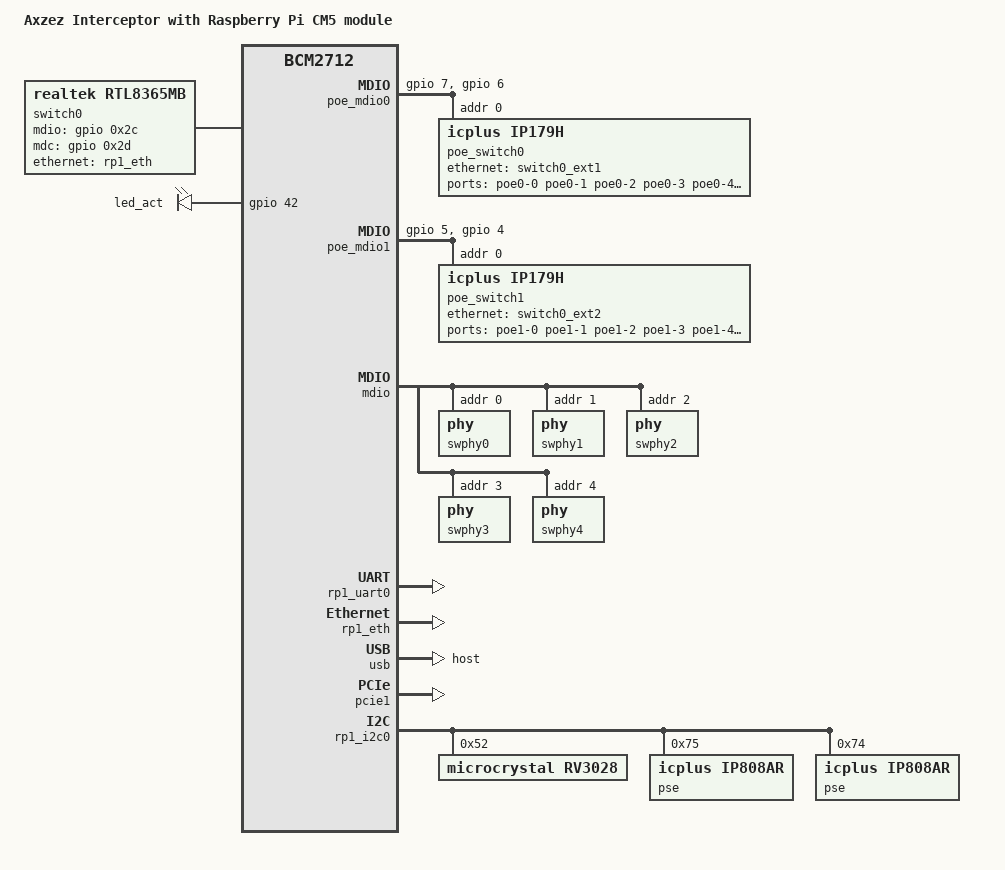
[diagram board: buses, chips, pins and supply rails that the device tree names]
// SPDX-License-Identifier: GPL-2.0
/dts-v1/;

#include "bcm2712-rpi-cm5.dtsi"
#include "bcm2712-rpi-cm4io.dtsi"

/ {
	model = "Axzez Interceptor with Raspberry Pi CM5 module";

	aliases {
		mdio-gpio0 = &poe_mdio0;
		mdio-gpio1 = &poe_mdio1;
	};

	chosen {
		bootargs = "reboot=w coherent_pool=1M 8250.nr_uarts=1 pci=pcie_bus_safe cgroup_disable=memory numa_policy=interleave";
		board = "interceptor-raspberrypi-cm5";
	};

	poe_mdio0: poe_mdio0 {
		compatible = "virtual,mdio-gpio";
		#address-cells = <1>;
		#size-cells = <0>;
		gpios = <&gpio 7 0>, <&gpio 6 6>;

		poe_switch0: ip179h@0 {
			compatible = "icplus,ip179h";
			reg = <0x00>;
			dsa,member = <0x01 0x00>;

			ports {
				#address-cells = <0x01>;
				#size-cells = <0x00>;
				port@0 {
					reg = <0x00>;
					label = "poe0-0";
					phy-mode = "internal";
				};
				port@1 {
					reg = <0x01>;
					label = "poe0-1";
					phy-mode = "internal";
				};
				port@2 {
					reg = <0x02>;
					label = "poe0-2";
					phy-mode = "internal";
				};
				port@3 {
					reg = <0x03>;
					label = "poe0-3";
					phy-mode = "internal";
				};
				port@4 {
					reg = <0x04>;
					label = "poe0-4";
					phy-mode = "internal";
				};
				port@5 {
					reg = <0x05>;
					label = "poe0-5";
					phy-mode = "internal";
				};
				port@6 {
					reg = <0x06>;
					label = "poe0-6";
					phy-mode = "internal";
				};
				port@7 {
					reg = <0x07>;
					label = "poe0-7";
					phy-mode = "internal";
				};
				port@8 {
					reg = <0x08>;
					label = "cpu";
					ethernet = <&switch0_ext1>;
					phy-mode = "rgmii-txid";
					fixed-link {
						speed = <0x3e8>;
						full-duplex;
					};
				};
			};
		};
	};

	poe_mdio1: poe_mdio1 {
		compatible = "virtual,mdio-gpio";
		#address-cells = <1>;
		#size-cells = <0>;
		gpios = <&gpio 5 0>, <&gpio 4 6>;

		poe_switch1: ip179h@0 {
			compatible = "icplus,ip179h";
			reg = <0x00>;
			dsa,member = <0x02 0x00>;

			ports {
				#address-cells = <0x01>;
				#size-cells = <0x00>;
				port@0 {
					reg = <0x00>;
					label = "poe1-0";
					phy-mode = "internal";
				};
				port@1 {
					reg = <0x01>;
					label = "poe1-1";
					phy-mode = "internal";
				};
				port@2 {
					reg = <0x02>;
					label = "poe1-2";
					phy-mode = "internal";
				};
				port@3 {
					reg = <0x03>;
					label = "poe1-3";
					phy-mode = "internal";
				};
				port@4 {
					reg = <0x04>;
					label = "poe1-4";
					phy-mode = "internal";
				};
				port@5 {
					reg = <0x05>;
					label = "poe1-5";
					phy-mode = "internal";
				};
				port@6 {
					reg = <0x06>;
					label = "poe1-6";
					phy-mode = "internal";
				};
				port@7 {
					reg = <0x07>;
					label = "poe1-7";
					phy-mode = "internal";
				};
				port@8 {
					reg = <0x08>;
					label = "cpu";
					ethernet = <&switch0_ext2>;
					phy-mode = "rgmii-txid";
					fixed-link {
						speed = <0x3e8>;
						full-duplex;
					};
				};
			};
		};
	};

	switch0: switch0 {
		compatible = "realtek,rtl8365mb";
		dsa,member = <0x00 0x00>;
		mdio-gpios = <&gpio 0x2c 0x06>;
		mdc-gpios = <&gpio 0x2d 0x06>;

		ports {
			#address-cells = <0x01>;
			#size-cells = <0x00>;
			port@0 {
				reg = <0x00>;
				label = "cpu";
				phy-mode = "internal";
				phy-handle = <&swphy0>;
				dsa-tag-protocol = "rtl8_4t";
				ethernet = <&rp1_eth>;
			};
			port@1 {
				reg = <0x01>;
				label = "swp0";
				phy-mode = "internal";
				phy-handle = <&swphy1>;
			};
			port@2 {
				reg = <0x02>;
				label = "swp1";
				phy-mode = "internal";
				phy-handle = <&swphy2>;
			};
			port@3 {
				reg = <0x03>;
				label = "swp2";
				phy-mode = "internal";
				phy-handle = <&swphy3>;
			};
			port@4 {
				reg = <0x04>;
				label = "swp3";
				phy-mode = "internal";
				phy-handle = <&swphy4>;
			};

			switch0_ext1: port@6 {
				reg = <0x06>;
				label = "ext1";
				phy-mode = "rgmii";
				tx-internal-delay-ps = <0x7d0>;
				rx-internal-delay-ps = <0x00>;
				fixed-link {
					speed = <0x3e8>;
					full-duplex;
				};
			};

			switch0_ext2: port@7 {
				reg = <0x07>;
				label = "ext2";
				phy-mode = "rgmii";
				tx-internal-delay-ps = <0x7d0>;
				rx-internal-delay-ps = <0x00>;
				fixed-link {
					speed = <0x3e8>;
					full-duplex;
				};
			};
		};

		mdio {
			compatible = "realtek,smi-mdio";
			#address-cells = <0x01>;
			#size-cells = <0x00>;
			swphy0: phy@0 {
				reg = <0x00>;
			};
			swphy1: phy@1 {
				reg = <0x01>;
			};
			swphy2: phy@2 {
				reg = <0x02>;
			};
			swphy3: phy@3 {
				reg = <0x03>;
			};
			swphy4: phy@4 {
				reg = <0x04>;
			};
		};
	};

};

&rp1_uart0 {
	pinctrl-0 = <&rp1_uart0_14_15>;
	status = "okay";
};

&rp1_eth {
	status = "okay";
};

&usb {
	status = "okay";
	dr_mode = "host";
};

&pcie1 {
	status = "okay";
};

&rp1_i2c0 {
	rv3028@52 {
		compatible = "microcrystal,rv3028";
		reg = <0x52>;
	};
	pse@75 {
		compatible = "icplus,ip808ar";
		reg = <0x75>;
		pse-id = <0x00>;
		power-allowance = <0x78>;
	};
	pse@74 {
		compatible = "icplus,ip808ar";
		reg = <0x74>;
		pse-id = <0x01>;
		power-allowance = <0x78>;
	};
};

&led_act {
	gpios = <&gpio 42 GPIO_ACTIVE_HIGH>;
};

/* enable video & HDMI */
// &aon_intr {
// 	status = "okay";
// };
// &mop {
// 	status = "okay";
// };
// &moplet {
// 	status = "okay";
// };
// &ddc0 {
// 	status = "okay";
// };
// &ddc1 {
// 	status = "okay";
// };
// &pixelvalve0 {
// 	status = "okay";
// };
// &pixelvalve1 {
// 	status = "okay";
// };
// &vc4 {
// 	status = "okay";
// };
// &hdmi0 {
// 	status = "okay";
// };
// &hdmi1 {
// 	status = "okay";
// };
